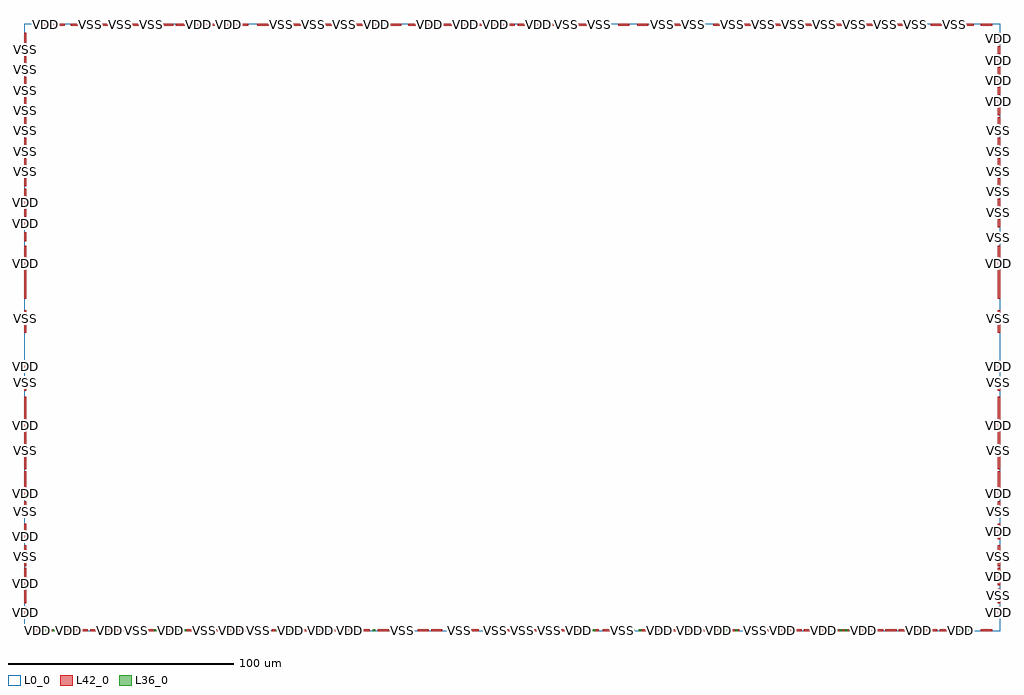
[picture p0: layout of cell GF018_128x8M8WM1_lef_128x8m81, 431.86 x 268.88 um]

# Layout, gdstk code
import gdstk
lib = gdstk.Library(unit=1e-6, precision=1e-09)
def R(c, l, rs):  # rectangles x0, y0, x1, y1
    for r in rs: c.add(gdstk.rectangle(r[:2], r[2:], *l))
def A(c, l, x, y, w, h, nx, ny, dx, dy):  # array of equal rectangles
    R(c, l, [(x+i*dx, y+j*dy, x+i*dx+w, y+j*dy+h) for i in range(nx) for j in range(ny)])
L0_0 = (0, 0)
L36_0 = (36, 0)
L42_0 = (42, 0)

gf018_128x8m8wm1_lef_128 = lib.new_cell('GF018_128x8M8WM1_lef_128x8m81')
R(gf018_128x8m8wm1_lef_128, L0_0, [(0,0,431.86,268.88)])
A(gf018_128x8m8wm1_lef_128, L42_0, 17.21, 0, 5, 1, 7, 1, 6, 0)
A(gf018_128x8m8wm1_lef_128, L42_0, 71.21, 0, 5, 1, 6, 1, 6, 0)
A(gf018_128x8m8wm1_lef_128, L42_0, 115.55, 0, 5, 1, 6, 1, 6.5, 0)
A(gf018_128x8m8wm1_lef_128, L42_0, 206.165, 0, 5, 1, 6, 1, 6, 0)
A(gf018_128x8m8wm1_lef_128, L42_0, 272.29, 0, 5, 1, 6, 1, 6.5, 0)
A(gf018_128x8m8wm1_lef_128, L42_0, 321.09, 0, 5, 1, 6, 1, 6, 0)
A(gf018_128x8m8wm1_lef_128, L42_0, 369.09, 0, 5, 1, 7, 1, 6, 0)
A(gf018_128x8m8wm1_lef_128, L42_0, 0, 178.88, 1, 3.5, 1, 18, 0, 4.5)
A(gf018_128x8m8wm1_lef_128, L42_0, 430.86, 178.88, 1, 3.5, 1, 18, 0, 4.5)
R(gf018_128x8m8wm1_lef_128, L42_0, [(3.53,0,8.53,1), (10.195,0,15.195,1), (62.215,0,67.215,1), (109.55,0,114.55,1), (156.62,0,161.62,1), (165.11,0,170.11,1), (174.155,0,179.155,1), (180.155,0,185.155,1), (190.14,0,195.14,1), (196.14,0,201.14,1), (242.83,0,247.83,1), (249.38,0,254.38,1), (256.165,0,261.165,1), (262.39,0,267.39,1), (311.475,0,316.475,1), (360.085,0,365.085,1), (412.095,0,417.095,1), (423.33,0,428.33,1), (0,6.16,1,11.16), (430.86,6.16,431.86,11.16), (0,12.51,1,18.86), (430.86,12.51,431.86,18.86), (0,20.3,1,28.145), (430.86,20.3,431.86,28.145), (0,28.83,1,37.98), (430.86,28.83,431.86,37.98), (0,40.76,1,47.575), (430.86,40.76,431.86,47.575), (0,50.88,1,57.465), (430.86,50.88,431.86,57.465), (0,60.18,1,70.89), (430.86,60.18,431.86,70.89), (0,71.64,1,88.65), (430.86,71.64,431.86,88.65), (0,90.08,1,103.695), (430.86,90.08,431.86,103.695), (0,106.41,1,111.41), (430.86,106.41,431.86,111.41), (0,114.69,1,119.69), (430.86,114.69,431.86,119.69), (0,132.175,1,142.08), (430.86,132.175,431.86,142.08), (0,147.15,1,170.625), (430.86,147.15,431.86,170.625), (0,172.68,1,176.63), (430.86,172.68,431.86,176.63), (0,259.88,1,264.88), (430.86,259.88,431.86,264.88), (7.005,267.88,12.005,268.88), (13.13,267.88,18.13,268.88), (20.685,267.88,25.685,268.88), (26.81,267.88,31.81,268.88), (34.005,267.88,39.005,268.88), (40.13,267.88,45.13,268.88), (47.685,267.88,52.685,268.88), (53.81,267.88,58.81,268.88), (61.005,267.88,66.005,268.88), (67.13,267.88,72.13,268.88), (74.685,267.88,79.685,268.88), (80.81,267.88,85.81,268.88), (88.005,267.88,93.005,268.88), (94.13,267.88,99.13,268.88), (103.265,267.88,108.265,268.88), (111.29,267.88,116.29,268.88), (117.415,267.88,122.415,268.88), (125.79,267.88,130.79,268.88), (132.86,267.88,137.86,268.88), (139.385,267.88,144.385,268.88), (146.365,267.88,151.365,268.88), (153.55,267.88,158.55,268.88), (161.905,267.88,166.905,268.88), (170.12,267.88,175.12,268.88), (177.075,267.88,182.075,268.88), (184.74,267.88,189.74,268.88), (192.925,267.88,197.925,268.88), (199.41,267.88,204.41,268.88), (206.15,267.88,211.15,268.88), (212.15,267.88,217.15,268.88), (218.565,267.88,223.565,268.88), (225.345,267.88,230.345,268.88), (231.565,267.88,236.565,268.88), (237.69,267.88,242.69,268.88), (244.505,267.88,249.505,268.88), (252.325,267.88,257.325,268.88), (262.845,267.88,267.845,268.88), (271.31,267.88,276.31,268.88), (279.95,267.88,284.95,268.88), (287.735,267.88,292.735,268.88), (293.955,267.88,298.955,268.88), (304.885,267.88,309.885,268.88), (311.01,267.88,316.01,268.88), (318.565,267.88,323.565,268.88), (324.69,267.88,329.69,268.88), (331.885,267.88,336.885,268.88), (338.01,267.88,343.01,268.88), (345.565,267.88,350.565,268.88), (351.69,267.88,356.69,268.88), (358.885,267.88,363.885,268.88), (365.01,267.88,370.01,268.88), (372.565,267.88,377.565,268.88), (378.69,267.88,383.69,268.88), (385.885,267.88,390.885,268.88), (392.01,267.88,397.01,268.88), (401.145,267.88,406.145,268.88), (409.17,267.88,414.17,268.88), (415.295,267.88,420.295,268.88), (423.33,267.88,428.33,268.88)])
gf018_128x8m8wm1_lef_128.add(gdstk.FlexPath([(67.83,0),(67.83,1)], 1.12, ends="flush", simple_path=True, layer=36, datatype=0))  # L36_0
gf018_128x8m8wm1_lef_128.add(gdstk.FlexPath([(65.83,0),(65.83,1)], 1.12, ends="flush", simple_path=True, layer=36, datatype=0))  # L36_0
gf018_128x8m8wm1_lef_128.add(gdstk.FlexPath([(154.855,0),(154.855,1)], 1.12, ends="flush", simple_path=True, layer=36, datatype=0))  # L36_0
gf018_128x8m8wm1_lef_128.add(gdstk.FlexPath([(163.32,0),(163.32,1)], 1.12, ends="flush", simple_path=True, layer=36, datatype=0))  # L36_0
gf018_128x8m8wm1_lef_128.add(gdstk.FlexPath([(269.42,0),(269.42,1)], 1.12, ends="flush", simple_path=True, layer=36, datatype=0))  # L36_0
gf018_128x8m8wm1_lef_128.add(gdstk.FlexPath([(171.775,0),(171.775,1)], 1.12, ends="flush", simple_path=True, layer=36, datatype=0))  # L36_0
gf018_128x8m8wm1_lef_128.add(gdstk.FlexPath([(203.5,0),(203.5,1)], 1.12, ends="flush", simple_path=True, layer=36, datatype=0))  # L36_0
gf018_128x8m8wm1_lef_128.add(gdstk.FlexPath([(252.27,0),(252.27,1)], 1.12, ends="flush", simple_path=True, layer=36, datatype=0))  # L36_0
gf018_128x8m8wm1_lef_128.add(gdstk.FlexPath([(272.645,0),(272.645,1)], 1.12, ends="flush", simple_path=True, layer=36, datatype=0))  # L36_0
gf018_128x8m8wm1_lef_128.add(gdstk.FlexPath([(276.38,0),(276.38,1)], 1.12, ends="flush", simple_path=True, layer=36, datatype=0))  # L36_0
gf018_128x8m8wm1_lef_128.add(gdstk.FlexPath([(281.885,0),(281.885,1)], 1.12, ends="flush", simple_path=True, layer=36, datatype=0))  # L36_0
gf018_128x8m8wm1_lef_128.add(gdstk.FlexPath([(307.795,0),(307.795,1)], 1.12, ends="flush", simple_path=True, layer=36, datatype=0))  # L36_0
gf018_128x8m8wm1_lef_128.add(gdstk.FlexPath([(311.135,0),(311.135,1)], 1.12, ends="flush", simple_path=True, layer=36, datatype=0))  # L36_0
gf018_128x8m8wm1_lef_128.add(gdstk.FlexPath([(315.35,0),(315.35,1)], 1.12, ends="flush", simple_path=True, layer=36, datatype=0))  # L36_0
gf018_128x8m8wm1_lef_128.add(gdstk.FlexPath([(356.105,0),(356.105,1)], 1.12, ends="flush", simple_path=True, layer=36, datatype=0))  # L36_0
gf018_128x8m8wm1_lef_128.add(gdstk.FlexPath([(359.47,0),(359.47,1)], 1.12, ends="flush", simple_path=True, layer=36, datatype=0))  # L36_0
gf018_128x8m8wm1_lef_128.add(gdstk.FlexPath([(361.46,0),(361.46,1)], 1.12, ends="flush", simple_path=True, layer=36, datatype=0))  # L36_0
gf018_128x8m8wm1_lef_128.add(gdstk.FlexPath([(363.71,0),(363.71,1)], 1.12, ends="flush", simple_path=True, layer=36, datatype=0))  # L36_0
gf018_128x8m8wm1_lef_128.add(gdstk.FlexPath([(365.71,0),(365.71,1)], 1.12, ends="flush", simple_path=True, layer=36, datatype=0))  # L36_0
gf018_128x8m8wm1_lef_128.add(gdstk.FlexPath([(369.075,0),(369.075,1)], 1.12, ends="flush", simple_path=True, layer=36, datatype=0))  # L36_0
gf018_128x8m8wm1_lef_128.add(gdstk.FlexPath([(409.835,0),(409.835,1)], 1.12, ends="flush", simple_path=True, layer=36, datatype=0))  # L36_0
gf018_128x8m8wm1_lef_128.add(gdstk.FlexPath([(414.035,0),(414.035,1)], 1.12, ends="flush", simple_path=True, layer=36, datatype=0))  # L36_0
gf018_128x8m8wm1_lef_128.add(gdstk.FlexPath([(71.195,0),(71.195,1)], 1.12, ends="flush", simple_path=True, layer=36, datatype=0))  # L36_0
gf018_128x8m8wm1_lef_128.add(gdstk.FlexPath([(111.955,0),(111.955,1)], 1.12, ends="flush", simple_path=True, layer=36, datatype=0))  # L36_0
gf018_128x8m8wm1_lef_128.add(gdstk.FlexPath([(117.58,0),(117.58,1)], 1.12, ends="flush", simple_path=True, layer=36, datatype=0))  # L36_0
gf018_128x8m8wm1_lef_128.add(gdstk.FlexPath([(119.535,0),(119.535,1)], 1.12, ends="flush", simple_path=True, layer=36, datatype=0))  # L36_0
gf018_128x8m8wm1_lef_128.add(gdstk.FlexPath([(140.24,0),(140.24,1)], 1.12, ends="flush", simple_path=True, layer=36, datatype=0))  # L36_0
gf018_128x8m8wm1_lef_128.add(gdstk.FlexPath([(417.42,0),(417.42,1)], 1.12, ends="flush", simple_path=True, layer=36, datatype=0))  # L36_0
gf018_128x8m8wm1_lef_128.add(gdstk.FlexPath([(9.88,0),(9.88,1)], 1.12, ends="flush", simple_path=True, layer=36, datatype=0))  # L36_0
gf018_128x8m8wm1_lef_128.add(gdstk.FlexPath([(13.255,0),(13.255,1)], 1.12, ends="flush", simple_path=True, layer=36, datatype=0))  # L36_0
gf018_128x8m8wm1_lef_128.add(gdstk.FlexPath([(17.46,0),(17.46,1)], 1.12, ends="flush", simple_path=True, layer=36, datatype=0))  # L36_0
gf018_128x8m8wm1_lef_128.add(gdstk.FlexPath([(58.225,0),(58.225,1)], 1.12, ends="flush", simple_path=True, layer=36, datatype=0))  # L36_0
gf018_128x8m8wm1_lef_128.add(gdstk.FlexPath([(61.59,0),(61.59,1)], 1.12, ends="flush", simple_path=True, layer=36, datatype=0))  # L36_0
gf018_128x8m8wm1_lef_128.add(gdstk.FlexPath([(63.58,0),(63.58,1)], 1.12, ends="flush", simple_path=True, layer=36, datatype=0))  # L36_0
gf018_128x8m8wm1_lef_128.add(gdstk.Label('VSS', (431.4,194.45), layer=42, texttype=10))
gf018_128x8m8wm1_lef_128.add(gdstk.Label('VSS', (431.4,174.47), layer=42, texttype=10))
gf018_128x8m8wm1_lef_128.add(gdstk.Label('VSS', (354.19,268.415), layer=42, texttype=10))
gf018_128x8m8wm1_lef_128.add(gdstk.Label('VSS', (431.4,185.45), layer=42, texttype=10))
gf018_128x8m8wm1_lef_128.add(gdstk.Label('VSS', (313.51,268.415), layer=42, texttype=10))
gf018_128x8m8wm1_lef_128.add(gdstk.Label('VSS', (411.67,268.415), layer=42, texttype=10))
gf018_128x8m8wm1_lef_128.add(gdstk.Label('VSS', (381.19,268.415), layer=42, texttype=10))
gf018_128x8m8wm1_lef_128.add(gdstk.Label('VSS', (296.455,268.415), layer=42, texttype=10))
gf018_128x8m8wm1_lef_128.add(gdstk.Label('VDD', (227.845,268.415), layer=42, texttype=10))
gf018_128x8m8wm1_lef_128.add(gdstk.Label('VDD', (234.065,268.415), layer=42, texttype=10))
gf018_128x8m8wm1_lef_128.add(gdstk.Label('VSS', (221.065,268.415), layer=42, texttype=10))
gf018_128x8m8wm1_lef_128.add(gdstk.Label('VSS', (254.825,268.415), layer=42, texttype=10))
gf018_128x8m8wm1_lef_128.add(gdstk.Label('VDD', (417.795,268.415), layer=42, texttype=10))
gf018_128x8m8wm1_lef_128.add(gdstk.Label('VDD', (388.385,268.415), layer=42, texttype=10))
gf018_128x8m8wm1_lef_128.add(gdstk.Label('VDD', (348.065,268.415), layer=42, texttype=10))
gf018_128x8m8wm1_lef_128.add(gdstk.Label('VDD', (307.385,268.415), layer=42, texttype=10))
gf018_128x8m8wm1_lef_128.add(gdstk.Label('VDD', (403.645,268.415), layer=42, texttype=10))
gf018_128x8m8wm1_lef_128.add(gdstk.Label('VDD', (290.235,268.415), layer=42, texttype=10))
gf018_128x8m8wm1_lef_128.add(gdstk.Label('VSS', (240.19,268.415), layer=42, texttype=10))
gf018_128x8m8wm1_lef_128.add(gdstk.Label('VDD', (265.345,268.415), layer=42, texttype=10))
gf018_128x8m8wm1_lef_128.add(gdstk.Label('VSS', (282.45,268.415), layer=42, texttype=10))
gf018_128x8m8wm1_lef_128.add(gdstk.Label('VDD', (431.4,262.38), layer=42, texttype=10))
gf018_128x8m8wm1_lef_128.add(gdstk.Label('VDD', (273.81,268.415), layer=42, texttype=10))
gf018_128x8m8wm1_lef_128.add(gdstk.Label('VDD', (247.005,268.415), layer=42, texttype=10))
gf018_128x8m8wm1_lef_128.add(gdstk.Label('VDD', (375.065,268.415), layer=42, texttype=10))
gf018_128x8m8wm1_lef_128.add(gdstk.Label('VDD', (431.4,198.63), layer=42, texttype=10))
gf018_128x8m8wm1_lef_128.add(gdstk.Label('VSS', (431.4,212.45), layer=42, texttype=10))
gf018_128x8m8wm1_lef_128.add(gdstk.Label('VDD', (321.065,268.415), layer=42, texttype=10))
gf018_128x8m8wm1_lef_128.add(gdstk.Label('VDD', (431.4,207.63), layer=42, texttype=10))
gf018_128x8m8wm1_lef_128.add(gdstk.Label('VDD', (361.385,268.415), layer=42, texttype=10))
gf018_128x8m8wm1_lef_128.add(gdstk.Label('VDD', (425.83,268.415), layer=42, texttype=10))
gf018_128x8m8wm1_lef_128.add(gdstk.Label('VDD', (431.4,216.63), layer=42, texttype=10))
gf018_128x8m8wm1_lef_128.add(gdstk.Label('VSS', (431.4,203.45), layer=42, texttype=10))
gf018_128x8m8wm1_lef_128.add(gdstk.Label('VSS', (431.4,221.45), layer=42, texttype=10))
gf018_128x8m8wm1_lef_128.add(gdstk.Label('VSS', (340.51,268.415), layer=42, texttype=10))
gf018_128x8m8wm1_lef_128.add(gdstk.Label('VSS', (367.51,268.415), layer=42, texttype=10))
gf018_128x8m8wm1_lef_128.add(gdstk.Label('VSS', (327.19,268.415), layer=42, texttype=10))
gf018_128x8m8wm1_lef_128.add(gdstk.Label('VSS', (394.51,268.415), layer=42, texttype=10))
gf018_128x8m8wm1_lef_128.add(gdstk.Label('VDD', (431.4,162.595), layer=42, texttype=10))
gf018_128x8m8wm1_lef_128.add(gdstk.Label('VDD', (431.4,189.63), layer=42, texttype=10))
gf018_128x8m8wm1_lef_128.add(gdstk.Label('VDD', (431.4,180.63), layer=42, texttype=10))
gf018_128x8m8wm1_lef_128.add(gdstk.Label('VSS', (431.4,138.295), layer=42, texttype=10))
gf018_128x8m8wm1_lef_128.add(gdstk.Label('VSS', (431.4,257.45), layer=42, texttype=10))
gf018_128x8m8wm1_lef_128.add(gdstk.Label('VDD', (431.4,252.63), layer=42, texttype=10))
gf018_128x8m8wm1_lef_128.add(gdstk.Label('VSS', (431.4,248.45), layer=42, texttype=10))
gf018_128x8m8wm1_lef_128.add(gdstk.Label('VDD', (431.4,243.63), layer=42, texttype=10))
gf018_128x8m8wm1_lef_128.add(gdstk.Label('VSS', (431.4,239.45), layer=42, texttype=10))
gf018_128x8m8wm1_lef_128.add(gdstk.Label('VDD', (431.4,234.63), layer=42, texttype=10))
gf018_128x8m8wm1_lef_128.add(gdstk.Label('VSS', (431.4,230.45), layer=42, texttype=10))
gf018_128x8m8wm1_lef_128.add(gdstk.Label('VDD', (431.4,225.63), layer=42, texttype=10))
gf018_128x8m8wm1_lef_128.add(gdstk.Label('VDD', (334.385,268.415), layer=42, texttype=10))
gf018_128x8m8wm1_lef_128.add(gdstk.Label('VSS', (56.31,268.415), layer=42, texttype=10))
gf018_128x8m8wm1_lef_128.add(gdstk.Label('VDD', (195.425,268.415), layer=42, texttype=10))
gf018_128x8m8wm1_lef_128.add(gdstk.Label('VDD', (77.185,268.415), layer=42, texttype=10))
gf018_128x8m8wm1_lef_128.add(gdstk.Label('VDD', (156.05,268.415), layer=42, texttype=10))
gf018_128x8m8wm1_lef_128.add(gdstk.Label('VSS', (42.63,268.415), layer=42, texttype=10))
gf018_128x8m8wm1_lef_128.add(gdstk.Label('VDD', (208.65,268.415), layer=42, texttype=10))
gf018_128x8m8wm1_lef_128.add(gdstk.Label('VDD', (179.575,268.415), layer=42, texttype=10))
gf018_128x8m8wm1_lef_128.add(gdstk.Label('VSS', (128.29,268.415), layer=42, texttype=10))
gf018_128x8m8wm1_lef_128.add(gdstk.Label('VDD', (119.915,268.415), layer=42, texttype=10))
gf018_128x8m8wm1_lef_128.add(gdstk.Label('VSS', (201.91,268.415), layer=42, texttype=10))
gf018_128x8m8wm1_lef_128.add(gdstk.Label('VSS', (187.24,268.415), layer=42, texttype=10))
gf018_128x8m8wm1_lef_128.add(gdstk.Label('VDD', (50.185,268.415), layer=42, texttype=10))
gf018_128x8m8wm1_lef_128.add(gdstk.Label('VSS', (113.79,268.415), layer=42, texttype=10))
gf018_128x8m8wm1_lef_128.add(gdstk.Label('VDD', (9.505,268.415), layer=42, texttype=10))
gf018_128x8m8wm1_lef_128.add(gdstk.Label('VSS', (29.31,268.415), layer=42, texttype=10))
gf018_128x8m8wm1_lef_128.add(gdstk.Label('VSS', (83.31,268.415), layer=42, texttype=10))
gf018_128x8m8wm1_lef_128.add(gdstk.Label('VSS', (148.865,268.415), layer=42, texttype=10))
gf018_128x8m8wm1_lef_128.add(gdstk.Label('VSS', (0.5,257.45), layer=42, texttype=10))
gf018_128x8m8wm1_lef_128.add(gdstk.Label('VDD', (0.5,252.63), layer=42, texttype=10))
gf018_128x8m8wm1_lef_128.add(gdstk.Label('VSS', (0.5,248.45), layer=42, texttype=10))
gf018_128x8m8wm1_lef_128.add(gdstk.Label('VDD', (0.5,243.63), layer=42, texttype=10))
gf018_128x8m8wm1_lef_128.add(gdstk.Label('VSS', (0.5,239.45), layer=42, texttype=10))
gf018_128x8m8wm1_lef_128.add(gdstk.Label('VDD', (0.5,234.63), layer=42, texttype=10))
gf018_128x8m8wm1_lef_128.add(gdstk.Label('VSS', (0.5,230.45), layer=42, texttype=10))
gf018_128x8m8wm1_lef_128.add(gdstk.Label('VDD', (0.5,189.63), layer=42, texttype=10))
gf018_128x8m8wm1_lef_128.add(gdstk.Label('VSS', (0.5,185.45), layer=42, texttype=10))
gf018_128x8m8wm1_lef_128.add(gdstk.Label('VDD', (0.5,180.63), layer=42, texttype=10))
gf018_128x8m8wm1_lef_128.add(gdstk.Label('VSS', (0.5,174.47), layer=42, texttype=10))
gf018_128x8m8wm1_lef_128.add(gdstk.Label('VDD', (0.5,162.595), layer=42, texttype=10))
gf018_128x8m8wm1_lef_128.add(gdstk.Label('VSS', (0.5,138.295), layer=42, texttype=10))
gf018_128x8m8wm1_lef_128.add(gdstk.Label('VDD', (0.5,262.38), layer=42, texttype=10))
gf018_128x8m8wm1_lef_128.add(gdstk.Label('VSS', (0.5,221.45), layer=42, texttype=10))
gf018_128x8m8wm1_lef_128.add(gdstk.Label('VDD', (0.5,216.63), layer=42, texttype=10))
gf018_128x8m8wm1_lef_128.add(gdstk.Label('VSS', (0.5,212.45), layer=42, texttype=10))
gf018_128x8m8wm1_lef_128.add(gdstk.Label('VDD', (0.5,207.63), layer=42, texttype=10))
gf018_128x8m8wm1_lef_128.add(gdstk.Label('VSS', (0.5,203.45), layer=42, texttype=10))
gf018_128x8m8wm1_lef_128.add(gdstk.Label('VDD', (0.5,198.63), layer=42, texttype=10))
gf018_128x8m8wm1_lef_128.add(gdstk.Label('VSS', (0.5,194.45), layer=42, texttype=10))
gf018_128x8m8wm1_lef_128.add(gdstk.Label('VDD', (0.5,225.63), layer=42, texttype=10))
gf018_128x8m8wm1_lef_128.add(gdstk.Label('VDD', (90.505,268.415), layer=42, texttype=10))
gf018_128x8m8wm1_lef_128.add(gdstk.Label('VDD', (105.765,268.415), layer=42, texttype=10))
gf018_128x8m8wm1_lef_128.add(gdstk.Label('VSS', (164.405,268.415), layer=42, texttype=10))
gf018_128x8m8wm1_lef_128.add(gdstk.Label('VDD', (135.36,268.415), layer=42, texttype=10))
gf018_128x8m8wm1_lef_128.add(gdstk.Label('VDD', (36.505,268.415), layer=42, texttype=10))
gf018_128x8m8wm1_lef_128.add(gdstk.Label('VDD', (63.505,268.415), layer=42, texttype=10))
gf018_128x8m8wm1_lef_128.add(gdstk.Label('VSS', (15.63,268.415), layer=42, texttype=10))
gf018_128x8m8wm1_lef_128.add(gdstk.Label('VSS', (69.63,268.415), layer=42, texttype=10))
gf018_128x8m8wm1_lef_128.add(gdstk.Label('VSS', (96.63,268.415), layer=42, texttype=10))
gf018_128x8m8wm1_lef_128.add(gdstk.Label('VSS', (141.885,268.415), layer=42, texttype=10))
gf018_128x8m8wm1_lef_128.add(gdstk.Label('VSS', (214.65,268.415), layer=42, texttype=10))
gf018_128x8m8wm1_lef_128.add(gdstk.Label('VSS', (172.62,268.415), layer=42, texttype=10))
gf018_128x8m8wm1_lef_128.add(gdstk.Label('VDD', (23.185,268.415), layer=42, texttype=10))
gf018_128x8m8wm1_lef_128.add(gdstk.Label('VSS', (167.605,0.5), layer=42, texttype=10))
gf018_128x8m8wm1_lef_128.add(gdstk.Label('VSS', (176.66,0.5), layer=42, texttype=10))
gf018_128x8m8wm1_lef_128.add(gdstk.Label('VSS', (192.645,0.5), layer=42, texttype=10))
gf018_128x8m8wm1_lef_128.add(gdstk.Label('VSS', (208.665,0.5), layer=42, texttype=10))
gf018_128x8m8wm1_lef_128.add(gdstk.Label('VDD', (0.5,61.195), layer=42, texttype=10))
gf018_128x8m8wm1_lef_128.add(gdstk.Label('VSS', (0.5,53.14), layer=42, texttype=10))
gf018_128x8m8wm1_lef_128.add(gdstk.Label('VDD', (0.5,117.12), layer=42, texttype=10))
gf018_128x8m8wm1_lef_128.add(gdstk.Label('VSS', (0.5,110.19), layer=42, texttype=10))
gf018_128x8m8wm1_lef_128.add(gdstk.Label('VDD', (0.5,91.095), layer=42, texttype=10))
gf018_128x8m8wm1_lef_128.add(gdstk.Label('VSS', (0.5,80.175), layer=42, texttype=10))
gf018_128x8m8wm1_lef_128.add(gdstk.Label('VSS', (79.715,0.5), layer=42, texttype=10))
gf018_128x8m8wm1_lef_128.add(gdstk.Label('VDD', (0.5,41.775), layer=42, texttype=10))
gf018_128x8m8wm1_lef_128.add(gdstk.Label('VSS', (0.5,32.985), layer=42, texttype=10))
gf018_128x8m8wm1_lef_128.add(gdstk.Label('VDD', (0.5,21.315), layer=42, texttype=10))
gf018_128x8m8wm1_lef_128.add(gdstk.Label('VSS', (0.5,15.815), layer=42, texttype=10))
gf018_128x8m8wm1_lef_128.add(gdstk.Label('VDD', (0.5,8.445), layer=42, texttype=10))
gf018_128x8m8wm1_lef_128.add(gdstk.Label('VDD', (19.71,0.5), layer=42, texttype=10))
gf018_128x8m8wm1_lef_128.add(gdstk.Label('VDD', (6.03,0.5), layer=42, texttype=10))
gf018_128x8m8wm1_lef_128.add(gdstk.Label('VSS', (49.705,0.5), layer=42, texttype=10))
gf018_128x8m8wm1_lef_128.add(gdstk.Label('VSS', (103.705,0.5), layer=42, texttype=10))
gf018_128x8m8wm1_lef_128.add(gdstk.Label('VDD', (144.05,0.5), layer=42, texttype=10))
gf018_128x8m8wm1_lef_128.add(gdstk.Label('VDD', (112.05,0.5), layer=42, texttype=10))
gf018_128x8m8wm1_lef_128.add(gdstk.Label('VDD', (118.05,0.5), layer=42, texttype=10))
gf018_128x8m8wm1_lef_128.add(gdstk.Label('VDD', (124.55,0.5), layer=42, texttype=10))
gf018_128x8m8wm1_lef_128.add(gdstk.Label('VDD', (131.05,0.5), layer=42, texttype=10))
gf018_128x8m8wm1_lef_128.add(gdstk.Label('VDD', (137.55,0.5), layer=42, texttype=10))
gf018_128x8m8wm1_lef_128.add(gdstk.Label('VDD', (12.695,0.5), layer=42, texttype=10))
gf018_128x8m8wm1_lef_128.add(gdstk.Label('VDD', (182.655,0.5), layer=42, texttype=10))
gf018_128x8m8wm1_lef_128.add(gdstk.Label('VDD', (198.64,0.5), layer=42, texttype=10))
gf018_128x8m8wm1_lef_128.add(gdstk.Label('VDD', (214.665,0.5), layer=42, texttype=10))
gf018_128x8m8wm1_lef_128.add(gdstk.Label('VDD', (31.71,0.5), layer=42, texttype=10))
gf018_128x8m8wm1_lef_128.add(gdstk.Label('VDD', (37.71,0.5), layer=42, texttype=10))
gf018_128x8m8wm1_lef_128.add(gdstk.Label('VDD', (43.71,0.5), layer=42, texttype=10))
gf018_128x8m8wm1_lef_128.add(gdstk.Label('VDD', (55.71,0.5), layer=42, texttype=10))
gf018_128x8m8wm1_lef_128.add(gdstk.Label('VDD', (64.715,0.5), layer=42, texttype=10))
gf018_128x8m8wm1_lef_128.add(gdstk.Label('VDD', (73.71,0.5), layer=42, texttype=10))
gf018_128x8m8wm1_lef_128.add(gdstk.Label('VDD', (85.71,0.5), layer=42, texttype=10))
gf018_128x8m8wm1_lef_128.add(gdstk.Label('VDD', (91.71,0.5), layer=42, texttype=10))
gf018_128x8m8wm1_lef_128.add(gdstk.Label('VDD', (97.71,0.5), layer=42, texttype=10))
gf018_128x8m8wm1_lef_128.add(gdstk.Label('VSS', (25.715,0.5), layer=42, texttype=10))
gf018_128x8m8wm1_lef_128.add(gdstk.Label('VDD', (150.55,0.5), layer=42, texttype=10))
gf018_128x8m8wm1_lef_128.add(gdstk.Label('VSS', (159.115,0.5), layer=42, texttype=10))
gf018_128x8m8wm1_lef_128.add(gdstk.Label('VSS', (431.4,32.985), layer=42, texttype=10))
gf018_128x8m8wm1_lef_128.add(gdstk.Label('VDD', (335.59,0.5), layer=42, texttype=10))
gf018_128x8m8wm1_lef_128.add(gdstk.Label('VDD', (414.595,0.5), layer=42, texttype=10))
gf018_128x8m8wm1_lef_128.add(gdstk.Label('VDD', (329.59,0.5), layer=42, texttype=10))
gf018_128x8m8wm1_lef_128.add(gdstk.Label('VDD', (307.29,0.5), layer=42, texttype=10))
gf018_128x8m8wm1_lef_128.add(gdstk.Label('VDD', (425.83,0.5), layer=42, texttype=10))
gf018_128x8m8wm1_lef_128.add(gdstk.Label('VDD', (395.59,0.5), layer=42, texttype=10))
gf018_128x8m8wm1_lef_128.add(gdstk.Label('VDD', (407.59,0.5), layer=42, texttype=10))
gf018_128x8m8wm1_lef_128.add(gdstk.Label('VSS', (431.4,53.14), layer=42, texttype=10))
gf018_128x8m8wm1_lef_128.add(gdstk.Label('VDD', (389.59,0.5), layer=42, texttype=10))
gf018_128x8m8wm1_lef_128.add(gdstk.Label('VDD', (431.4,43.985), layer=42, texttype=10))
gf018_128x8m8wm1_lef_128.add(gdstk.Label('VSS', (264.895,0.5), layer=42, texttype=10))
gf018_128x8m8wm1_lef_128.add(gdstk.Label('VSS', (401.59,0.5), layer=42, texttype=10))
gf018_128x8m8wm1_lef_128.add(gdstk.Label('VSS', (258.665,0.5), layer=42, texttype=10))
gf018_128x8m8wm1_lef_128.add(gdstk.Label('VDD', (294.29,0.5), layer=42, texttype=10))
gf018_128x8m8wm1_lef_128.add(gdstk.Label('VDD', (281.29,0.5), layer=42, texttype=10))
gf018_128x8m8wm1_lef_128.add(gdstk.Label('VDD', (287.79,0.5), layer=42, texttype=10))
gf018_128x8m8wm1_lef_128.add(gdstk.Label('VDD', (383.59,0.5), layer=42, texttype=10))
gf018_128x8m8wm1_lef_128.add(gdstk.Label('VSS', (431.4,80.175), layer=42, texttype=10))
gf018_128x8m8wm1_lef_128.add(gdstk.Label('VSS', (431.4,110.19), layer=42, texttype=10))
gf018_128x8m8wm1_lef_128.add(gdstk.Label('VSS', (431.4,15.815), layer=42, texttype=10))
gf018_128x8m8wm1_lef_128.add(gdstk.Label('VSS', (232.665,0.5), layer=42, texttype=10))
gf018_128x8m8wm1_lef_128.add(gdstk.Label('VDD', (431.4,8.445), layer=42, texttype=10))
gf018_128x8m8wm1_lef_128.add(gdstk.Label('VSS', (220.665,0.5), layer=42, texttype=10))
gf018_128x8m8wm1_lef_128.add(gdstk.Label('VDD', (341.59,0.5), layer=42, texttype=10))
gf018_128x8m8wm1_lef_128.add(gdstk.Label('VDD', (353.59,0.5), layer=42, texttype=10))
gf018_128x8m8wm1_lef_128.add(gdstk.Label('VDD', (362.585,0.5), layer=42, texttype=10))
gf018_128x8m8wm1_lef_128.add(gdstk.Label('VDD', (371.59,0.5), layer=42, texttype=10))
gf018_128x8m8wm1_lef_128.add(gdstk.Label('VDD', (313.975,0.5), layer=42, texttype=10))
gf018_128x8m8wm1_lef_128.add(gdstk.Label('VDD', (431.4,24.22), layer=42, texttype=10))
gf018_128x8m8wm1_lef_128.add(gdstk.Label('VDD', (300.79,0.5), layer=42, texttype=10))
gf018_128x8m8wm1_lef_128.add(gdstk.Label('VDD', (226.665,0.5), layer=42, texttype=10))
gf018_128x8m8wm1_lef_128.add(gdstk.Label('VDD', (238.665,0.5), layer=42, texttype=10))
gf018_128x8m8wm1_lef_128.add(gdstk.Label('VDD', (431.4,61.195), layer=42, texttype=10))
gf018_128x8m8wm1_lef_128.add(gdstk.Label('VDD', (431.4,117.12), layer=42, texttype=10))
gf018_128x8m8wm1_lef_128.add(gdstk.Label('VDD', (274.79,0.5), layer=42, texttype=10))
gf018_128x8m8wm1_lef_128.add(gdstk.Label('VSS', (347.59,0.5), layer=42, texttype=10))
gf018_128x8m8wm1_lef_128.add(gdstk.Label('VSS', (323.59,0.5), layer=42, texttype=10))
gf018_128x8m8wm1_lef_128.add(gdstk.Label('VSS', (377.59,0.5), layer=42, texttype=10))
gf018_128x8m8wm1_lef_128.add(gdstk.Label('VDD', (245.33,0.5), layer=42, texttype=10))
gf018_128x8m8wm1_lef_128.add(gdstk.Label('VDD', (431.4,91.095), layer=42, texttype=10))
gf018_128x8m8wm1_lef_128.add(gdstk.Label('VDD', (251.88,0.5), layer=42, texttype=10))
gf018_128x8m8wm1_lef_128.add(gdstk.Label('CLK', (140.24,0.5), layer=36, texttype=10))
gf018_128x8m8wm1_lef_128.add(gdstk.Label('D[0]', (9.88,0.5), layer=36, texttype=10))
gf018_128x8m8wm1_lef_128.add(gdstk.Label('A[2]', (154.855,0.5), layer=36, texttype=10))
gf018_128x8m8wm1_lef_128.add(gdstk.Label('A[1]', (163.32,0.5), layer=36, texttype=10))
gf018_128x8m8wm1_lef_128.add(gdstk.Label('A[0]', (171.775,0.5), layer=36, texttype=10))
gf018_128x8m8wm1_lef_128.add(gdstk.Label('Q[2]', (71.195,0.5), layer=36, texttype=10))
gf018_128x8m8wm1_lef_128.add(gdstk.Label('Q[3]', (111.955,0.5), layer=36, texttype=10))
gf018_128x8m8wm1_lef_128.add(gdstk.Label('CEN', (252.27,0.5), layer=36, texttype=10))
gf018_128x8m8wm1_lef_128.add(gdstk.Label('A[5]', (272.645,0.5), layer=36, texttype=10))
gf018_128x8m8wm1_lef_128.add(gdstk.Label('A[4]', (276.38,0.5), layer=36, texttype=10))
gf018_128x8m8wm1_lef_128.add(gdstk.Label('WEN[3]', (117.58,0.5), layer=36, texttype=10))
gf018_128x8m8wm1_lef_128.add(gdstk.Label('D[7]', (417.42,0.5), layer=36, texttype=10))
gf018_128x8m8wm1_lef_128.add(gdstk.Label('Q[7]', (409.835,0.5), layer=36, texttype=10))
gf018_128x8m8wm1_lef_128.add(gdstk.Label('D[3]', (119.535,0.5), layer=36, texttype=10))
gf018_128x8m8wm1_lef_128.add(gdstk.Label('D[1]', (61.59,0.5), layer=36, texttype=10))
gf018_128x8m8wm1_lef_128.add(gdstk.Label('D[2]', (67.83,0.5), layer=36, texttype=10))
gf018_128x8m8wm1_lef_128.add(gdstk.Label('A[3]', (281.885,0.5), layer=36, texttype=10))
gf018_128x8m8wm1_lef_128.add(gdstk.Label('Q[1]', (58.225,0.5), layer=36, texttype=10))
gf018_128x8m8wm1_lef_128.add(gdstk.Label('Q[6]', (369.075,0.5), layer=36, texttype=10))
gf018_128x8m8wm1_lef_128.add(gdstk.Label('D[5]', (359.47,0.5), layer=36, texttype=10))
gf018_128x8m8wm1_lef_128.add(gdstk.Label('Q[4]', (315.35,0.5), layer=36, texttype=10))
gf018_128x8m8wm1_lef_128.add(gdstk.Label('WEN[5]', (361.46,0.5), layer=36, texttype=10))
gf018_128x8m8wm1_lef_128.add(gdstk.Label('WEN[2]', (65.83,0.5), layer=36, texttype=10))
gf018_128x8m8wm1_lef_128.add(gdstk.Label('WEN[1]', (63.58,0.5), layer=36, texttype=10))
gf018_128x8m8wm1_lef_128.add(gdstk.Label('WEN[4]', (311.135,0.5), layer=36, texttype=10))
gf018_128x8m8wm1_lef_128.add(gdstk.Label('WEN[7]', (414.035,0.5), layer=36, texttype=10))
gf018_128x8m8wm1_lef_128.add(gdstk.Label('WEN[6]', (363.71,0.5), layer=36, texttype=10))
gf018_128x8m8wm1_lef_128.add(gdstk.Label('D[4]', (307.795,0.5), layer=36, texttype=10))
gf018_128x8m8wm1_lef_128.add(gdstk.Label('D[6]', (365.71,0.5), layer=36, texttype=10))
gf018_128x8m8wm1_lef_128.add(gdstk.Label('Q[5]', (356.105,0.5), layer=36, texttype=10))
gf018_128x8m8wm1_lef_128.add(gdstk.Label('Q[0]', (17.46,0.5), layer=36, texttype=10))
gf018_128x8m8wm1_lef_128.add(gdstk.Label('GWEN', (203.5,0.5), layer=36, texttype=10))
gf018_128x8m8wm1_lef_128.add(gdstk.Label('WEN[0]', (13.255,0.5), layer=36, texttype=10))
gf018_128x8m8wm1_lef_128.add(gdstk.Label('A[6]', (269.42,0.5), layer=36, texttype=10))

lib.write_gds('GF018_128x8M8WM1_lef_128x8m81.gds')
